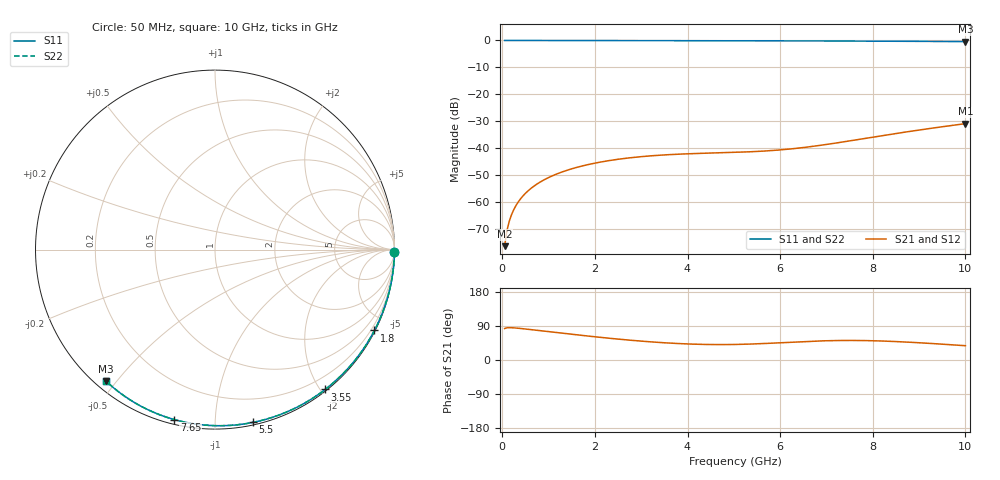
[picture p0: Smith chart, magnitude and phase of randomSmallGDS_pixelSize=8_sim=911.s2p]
! freq	dB(S11)	phase(S11)	dB(S12)	phase(S12)
!  dB(S21)	phase(S21)	dB(S22)	phase(S22)
!S-par simulation data
#  GHz  S  DB  R 50
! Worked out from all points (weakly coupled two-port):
!   200 points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, 50 MHz to 10 GHz, reference 50 ohm
!   highest |S21| = -30.81 dB at 10 GHz (marker M1); lowest = -76.2 dB at 50 MHz (marker M2)
!   lowest |S11| = -0.4 dB at 10 GHz (marker M3), VSWR 40.46, Z = 1.51 - j23.6 ohm
!   |S11| at or under -10 dB: nowhere
!   |S22| runs from -0.4 to 0.0 dB; largest |S21 - S12| = 0
!   S11 on the Smith chart (normalised r, x): 50 MHz: open; 1.8 GHz: 0.04, -4.19; 3.55 GHz: 0.02, -2.06; 5.5 GHz: 0.02, -1.25; 7.65 GHz: 0.02, -0.79; 10 GHz: 0.03, -0.47
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0.05  -0.00 -0.8  -76.17 83.0  -76.17 83.0  -0.00 -0.8
0.1  -0.00 -1.5  -70.43 85.0  -70.43 85.0  -0.00 -1.5
0.15  -0.00 -2.3  -66.97 85.4  -66.97 85.4  -0.00 -2.3
0.2  -0.00 -3.0  -64.49 85.2  -64.49 85.2  -0.00 -3.0
0.25  -0.00 -3.8  -62.57 84.8  -62.57 84.8  -0.00 -3.8
0.35  -0.00 -5.3  -59.67 83.7  -59.67 83.7  -0.00 -5.3
0.5  -0.01 -7.6  -56.61 81.8  -56.61 81.8  -0.01 -7.6
0.7  -0.01 -10.6  -53.74 79.1  -53.74 79.1  -0.01 -10.6
1  -0.02 -15.1  -50.76 74.9  -50.76 74.9  -0.02 -15.1
1.35  -0.03 -20.2  -48.34 70.0  -48.34 70.0  -0.03 -20.2
1.75  -0.03 -26.1  -46.37 64.5  -46.37 64.5  -0.03 -26.1
1.8  -0.03 -26.9  -46.17 63.9  -46.17 63.9  -0.03 -26.9
2.5  -0.05 -37.0  -44.00 55.1  -44.00 55.1  -0.05 -37.0
3.4  -0.07 -49.7  -42.49 46.2  -42.49 46.2  -0.07 -49.7
3.55  -0.07 -51.8  -42.33 45.1  -42.33 45.1  -0.07 -51.8
4.3  -0.09 -61.9  -41.80 41.2  -41.80 41.2  -0.09 -61.9
5.05  -0.11 -71.8  -41.42 41.0  -41.42 41.0  -0.11 -71.8
5.5  -0.12 -77.5  -41.10 42.7  -41.10 42.7  -0.12 -77.5
6.7  -0.18 -92.3  -39.23 49.6  -39.23 49.6  -0.18 -92.3
7.65  -0.23 -103.4  -36.78 51.5  -36.78 51.5  -0.23 -103.4
8.35  -0.28 -111.4  -34.86 49.4  -34.86 49.4  -0.28 -111.4
10  -0.43 -129.5  -30.81 37.7  -30.81 37.7  -0.43 -129.5
